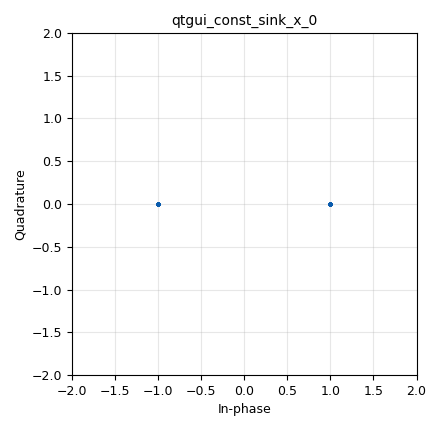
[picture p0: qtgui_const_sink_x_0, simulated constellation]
options:
  parameters:
    generate_options: qt_gui
    id: top
    output_language: python
    title: BPSK Symbols
  states: {}

blocks:
- name: samp_rate
  id: variable
  parameters:
    value: '32000'
  states: {}
- name: analog_const_source_x_0
  id: analog_const_source_x
  parameters:
    const: '0'
    type: float
  states: {}
- name: analog_random_uniform_source_x_0
  id: analog_random_uniform_source_x
  parameters:
    maximum: '2'
    minimum: '0'
    seed: '0'
    type: byte
  states: {}
- name: blocks_add_const_vxx_0
  id: blocks_add_const_vxx
  parameters:
    const: '-1'
    type: float
  states: {}
- name: blocks_complex_to_float_0
  id: blocks_complex_to_float
  parameters: {}
  states: {}
- name: blocks_float_to_complex_0
  id: blocks_float_to_complex
  parameters: {}
  states: {}
- name: blocks_multiply_const_vxx_0
  id: blocks_multiply_const_vxx
  parameters:
    const: '2'
    type: float
  states: {}
- name: blocks_null_sink_0
  id: blocks_null_sink
  parameters:
    type: float
  states: {}
- name: blocks_threshold_ff_0
  id: blocks_threshold_ff
  parameters:
    high: '0'
    init: '0'
    low: '0'
  states: {}
- name: blocks_throttle2_0
  id: blocks_throttle2
  parameters:
    samples_per_second: samp_rate
    type: byte
  states: {}
- name: blocks_uchar_to_float_0
  id: blocks_uchar_to_float
  parameters: {}
  states: {}
- name: qtgui_const_sink_x_0
  id: qtgui_const_sink_x
  parameters:
    size: '1024'
    type: complex
  states: {}
- name: qtgui_number_sink_0
  id: qtgui_number_sink
  parameters:
    graph_type: qtgui.NUM_GRAPH_HORIZ
    name: '"Input"'
    type: float
  states: {}
- name: qtgui_number_sink_1
  id: qtgui_number_sink
  parameters:
    graph_type: qtgui.NUM_GRAPH_HORIZ
    name: '"Output"'
    type: float
  states: {}

connections:
- [analog_const_source_x_0, '0', blocks_float_to_complex_0, '1']
- [analog_random_uniform_source_x_0, '0', blocks_throttle2_0, '0']
- [blocks_add_const_vxx_0, '0', blocks_float_to_complex_0, '0']
- [blocks_complex_to_float_0, '0', blocks_threshold_ff_0, '0']
- [blocks_complex_to_float_0, '1', blocks_null_sink_0, '0']
- [blocks_float_to_complex_0, '0', blocks_complex_to_float_0, '0']
- [blocks_float_to_complex_0, '0', qtgui_const_sink_x_0, '0']
- [blocks_multiply_const_vxx_0, '0', blocks_add_const_vxx_0, '0']
- [blocks_threshold_ff_0, '0', qtgui_number_sink_1, '0']
- [blocks_throttle2_0, '0', blocks_uchar_to_float_0, '0']
- [blocks_uchar_to_float_0, '0', blocks_multiply_const_vxx_0, '0']
- [blocks_uchar_to_float_0, '0', qtgui_number_sink_0, '0']

metadata:
  file_format: 1
  grc_version: 3.10.7.0
